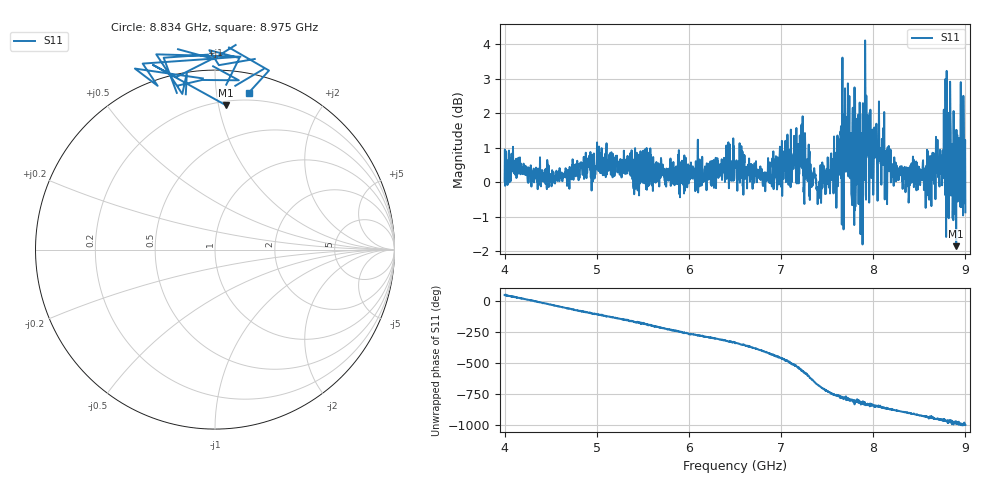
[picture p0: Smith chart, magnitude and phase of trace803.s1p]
! Created with skrf 1.8.0 (http://scikit-rf.org).
# Hz S RI R 50.0
!freq ReS11 ImS11
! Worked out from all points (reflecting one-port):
!   1601 points, 4 GHz to 9 GHz, reference 50 ohm
!   lowest |S11| = -1.9 dB at 8.9 GHz (marker M1), VSWR 9.38, Z = 11.4 + j52.5 ohm
!   phase of S11 starts at 51 deg and turns -1053 deg over the sweep
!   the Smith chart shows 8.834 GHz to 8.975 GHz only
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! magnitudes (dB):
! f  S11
! 4 GHz  0.0
! 4.094 GHz  0.4
! 4.625 GHz  0.0
! 5.028 GHz  0.5
! 5.25 GHz  0.2
! 5.875 GHz  -0.1
! 6.5 GHz  0.5
! 6.825 GHz  0.1
! 7.125 GHz  0.8
! 7.209 GHz  0.8
! 7.262 GHz  1.1
! 7.284 GHz  0.7
! 7.409 GHz  -0.5
! 7.578 GHz  0.1
! 7.688 GHz  2.0
! 7.75 GHz  0.1
! 7.788 GHz  0.4
! 7.834 GHz  1.2
! 7.881 GHz  1.3
! 7.928 GHz  1.0
! 7.981 GHz  0.1
! 8.088 GHz  -0.1
! 8.375 GHz  0.1
! 8.612 GHz  0.7
! 8.819 GHz  -1.0
! 8.9 GHz  -1.9
! 8.972 GHz  0.4
! 9 GHz  -0.9
